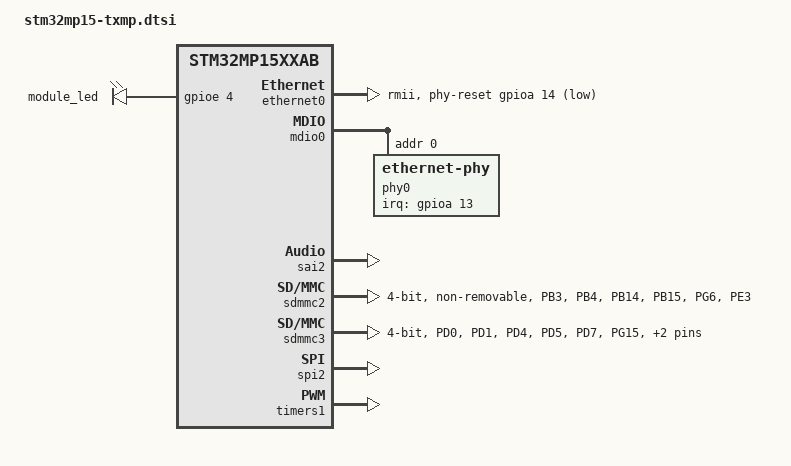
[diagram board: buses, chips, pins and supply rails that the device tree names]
// SPDX-License-Identifier: (GPL-2.0+ OR BSD-3-Clause)
/*
 * Copyright (C) Lothar Waßmann <LW@KARO-electronics.de>
 */

#include "stm32mp15xxab-pinctrl.dtsi"

&ethernet0 {
	pinctrl-0 = <&ethernet0_rmii_pins>;
	pinctrl-1 = <&ethernet0_rmii_pins_sleep>;
	phy-mode = "rmii";
	max-speed = <100>;
	phy-reset-gpios = <&gpioa 14 GPIO_ACTIVE_LOW>;
	st,eth-ref-clk-sel;
};

&lcd_backlight {
	gpios = <&gpioa 10 GPIO_ACTIVE_LOW>;
};

&lcd_panel {
	pinctrl-0 = <&txmp_ltdc_pins>;
	pinctrl-1 = <&txmp_ltdc_pins_sleep>;
	enable-gpios = <&gpiod 15 GPIO_ACTIVE_HIGH>;
	reset-gpios = <&gpioe 1 GPIO_ACTIVE_HIGH>;
};

&mdio0 {
	phy0: ethernet-phy@0 {
		reg = <0>;
		interrupt-parent = <&gpioa>;
		interrupts = <13 IRQ_TYPE_EDGE_FALLING>;
		smsc,disable-energy-detect;
	};
};

&module_led {
	pinctrl-0 = <&txmp_led_pins>;
	pinctrl-1 = <&txmp_led_sleep_pins>;
	gpios = <&gpioe 4 GPIO_ACTIVE_HIGH>;
};

&sai2 {
	status = "okay";

	sai2a: audio-controller@4400b004 {
		pinctrl-names = "default", "sleep";
		pinctrl-0 = <&txmp_sai2a_pins>;
		pinctrl-1 = <&txmp_sai2a_sleep_pins>;
		status = "okay";
	};
};

&sdmmc2 {
	/* eMMC */
	pinctrl-names = "default", "opendrain", "sleep";
	pinctrl-0 = <&txmp_sdmmc2_pins>;
	pinctrl-1 = <&txmp_sdmmc2_opendrain_pins>;
	pinctrl-2 = <&txmp_sdmmc2_sleep_pins>;
	bus-width = <4>;
	no-sd;
	no-sdio;
	st,neg-edge;
	non-removable;
	status = "okay";
};

&sdmmc3 {
	/* SD card slot */
	pinctrl-names = "default", "opendrain", "sleep";
	pinctrl-0 = <&sdmmc3_pins &sdmmc3_cd_pins>;
	pinctrl-1 = <&sdmmc3_opendrain_pins &sdmmc3_cd_pins>;
	pinctrl-2 = <&sdmmc3_sleep_pins &sdmmc3_cd_pins>;
	cd-gpios = <&gpioc 11 GPIO_ACTIVE_LOW>;
	bus-width = <4>;
	no-1-8-v;
	st,neg-edge;
	status = "okay";
};

&spi2 {
	pinctrl-names = "default", "sleep";
	pinctrl-0 = <&spi2_pins>;
	pinctrl-1 = <&spi2_sleep_pins>;
	status = "okay";
};

&timers1 {
	status = "okay";

	pwm {
		pinctrl-names = "default", "sleep";
		pinctrl-0 = <&tim1_pwm_pins>;
		pinctrl-1 = <&tim1_pwm_sleep_pins>;
		status = "okay";
	};
};

&pinctrl {
	sdmmc3_pins: sdmmc3-pins {
		pins1 {
			pinmux = <
				  STM32_PINMUX('D', 0, AF10)	/* SDMMC3_CMD */
				  STM32_PINMUX('D', 1, AF10)	/* SDMMC3_D0 */
				  STM32_PINMUX('D', 4, AF10)	/* SDMMC3_D1 */
				  STM32_PINMUX('D', 5, AF10)	/* SDMMC3_D2 */
				  STM32_PINMUX('D', 7, AF10)	/* SDMMC3_D3 */
			>;
			bias-disable;
			drive-push-pull;
			slew-rate = <0>;
		};

		pins2 {
			pinmux = <STM32_PINMUX('G', 15, AF10)>; /* SDMMC3_CK */
			bias-disable;
			drive-push-pull;
			slew-rate = <0>;
		};
	};

	sdmmc3_cd_pins: sdmmc3-cd-pins {
		pins {
			pinmux = <STM32_PINMUX('C', 11, GPIO)>; /* CD */
			bias-pull-up;
		};
	};

	sdmmc3_opendrain_pins: sdmmc3_opendrain-mx {
		pins1 {
			pinmux = <
				  STM32_PINMUX('D', 1, AF10) /* SDMMC3_D0 */
				  STM32_PINMUX('D', 4, AF10) /* SDMMC3_D1 */
				  STM32_PINMUX('D', 5, AF10) /* SDMMC3_D2 */
				  STM32_PINMUX('D', 7, AF10) /* SDMMC3_D3 */
			>;
			bias-disable;
			drive-push-pull;
			slew-rate = <0>;
		};

		pins2 {
			pinmux = <STM32_PINMUX('G', 15, AF10)>; /* SDMMC3_CK */
			bias-disable;
			drive-push-pull;
			slew-rate = <0>;
		};

		pins3 {
			pinmux = <STM32_PINMUX('D', 0, AF10)>; /* SDMMC3_CMD */
			bias-pull-up;
			drive-open-drain;
			slew-rate = <0>;
		};
	};

	sdmmc3_sleep_pins: sdmmc3-sleep-mx {
		pins {
			pinmux = <
				  STM32_PINMUX('D', 0, ANALOG) /* SDMMC3_CMD */
				  STM32_PINMUX('D', 1, ANALOG) /* SDMMC3_D0 */
				  STM32_PINMUX('D', 4, ANALOG) /* SDMMC3_D1 */
				  STM32_PINMUX('D', 5, ANALOG) /* SDMMC3_D2 */
				  STM32_PINMUX('D', 7, ANALOG) /* SDMMC3_D3 */
				  STM32_PINMUX('G', 15, ANALOG) /* SDMMC3_CK */
			>;
		};
	};

	tim1_pwm_pins: tim1-pwm-pins {
		pins {
			pinmux = <STM32_PINMUX('A', 10, AF1)>; /* TIM1_CH3 */
			bias-disable;
			drive-push-pull;
			slew-rate = <0>;
		};
	};

	tim1_pwm_sleep_pins: tim1-pwm-sleep-pins {
		pins {
			pinmux = <STM32_PINMUX('A', 10, ANALOG)>; /* TIM1_CH3 */
		};
	};

	txmp_ltdc_pins: txmp-lcd-pins {
		pins {
			pinmux = <
				  STM32_PINMUX('G',  7, AF14) /* LCD_CLK */
				  STM32_PINMUX('C',  6, AF14) /* LCD_HSYNC */
				  STM32_PINMUX('A',  4, AF14) /* LCD_VSYNC */
				  STM32_PINMUX('E', 13, AF14) /* LCD_DE */
				  /* LCD_R0 missing! */
				  //STM32_PINMUX('G',  9, AF14) /* LCD_R1 */
				  STM32_PINMUX('C', 10, AF14) /* LCD_R2 */
				  STM32_PINMUX('B',  0,  AF9) /* LCD_R3 */
				  STM32_PINMUX('A',  5, AF14) /* LCD_R4 */
				  STM32_PINMUX('C',  0, AF14) /* LCD_R5 */
				  STM32_PINMUX('B',  1,  AF9) /* LCD_R6 */
				  STM32_PINMUX('E', 15, AF14) /* LCD_R7 */
				  //STM32_PINMUX('E', 14, AF13) /* LCD_G0 */
				  //STM32_PINMUX('E',  6, AF14) /* LCD_G1 */
				  STM32_PINMUX('A',  6, AF14) /* LCD_G2 */
				  STM32_PINMUX('E', 11, AF14) /* LCD_G3 */
				  STM32_PINMUX('B', 10, AF14) /* LCD_G4 */
				  STM32_PINMUX('F', 11, AF14) /* LCD_G5 */
				  STM32_PINMUX('C',  7, AF14) /* LCD_G6 */
				  STM32_PINMUX('D',  3, AF14) /* LCD_G7 */
				  //STM32_PINMUX('D',  9, AF14) /* LCD_B0 */
				  //STM32_PINMUX('G', 12, AF14) /* LCD_B1 */
				  STM32_PINMUX('G', 10, AF14) /* LCD_B2 */
				  STM32_PINMUX('D', 10, AF14) /* LCD_B3 */
				  STM32_PINMUX('E', 12, AF14) /* LCD_B4 */
				  STM32_PINMUX('A',  3, AF14) /* LCD_B5 */
				  STM32_PINMUX('B',  8, AF14) /* LCD_B6 */
				  STM32_PINMUX('D',  8, AF14) /* LCD_B7 */
			>;
			bias-disable;
			drive-push-pull;
			slew-rate = <3>;
		};
	};

	txmp_ltdc_pins_sleep: txmp-lcd-pins-sleep {
		pins {
			pinmux = <
				  STM32_PINMUX('G',  7, ANALOG) /* LCD_CLK */
				  STM32_PINMUX('C',  6, ANALOG) /* LCD_HSYNC */
				  STM32_PINMUX('A',  4, ANALOG) /* LCD_VSYNC */
				  STM32_PINMUX('E', 13, ANALOG) /* LCD_DE */
				  /* LCD_R0 missing! */
				  //STM32_PINMUX('G',  9, ANALOG) /* LCD_R1 */
				  STM32_PINMUX('C', 10, ANALOG) /* LCD_R2 */
				  STM32_PINMUX('B',  0, ANALOG) /* LCD_R3 */
				  STM32_PINMUX('A',  5, ANALOG) /* LCD_R4 */
				  STM32_PINMUX('C',  0, ANALOG) /* LCD_R5 */
				  STM32_PINMUX('B',  1, ANALOG) /* LCD_R6 */
				  STM32_PINMUX('E', 15, ANALOG) /* LCD_R7 */
				  //STM32_PINMUX('E', 14, ANALOG) /* LCD_G0 */
				  //STM32_PINMUX('E',  6, ANALOG) /* LCD_G1 */
				  STM32_PINMUX('A',  6, ANALOG) /* LCD_G2 */
				  STM32_PINMUX('E', 11, ANALOG) /* LCD_G3 */
				  STM32_PINMUX('B', 10, ANALOG) /* LCD_G4 */
				  STM32_PINMUX('F', 11, ANALOG) /* LCD_G5 */
				  STM32_PINMUX('C',  7, ANALOG) /* LCD_G6 */
				  STM32_PINMUX('D',  3, ANALOG) /* LCD_G7 */
				  //STM32_PINMUX('D',  9, ANALOG) /* LCD_B0 */
				  //STM32_PINMUX('G', 12, ANALOG) /* LCD_B1 */
				  STM32_PINMUX('G', 10, ANALOG) /* LCD_B2 */
				  STM32_PINMUX('D', 10, ANALOG) /* LCD_B3 */
				  STM32_PINMUX('E', 12, ANALOG) /* LCD_B4 */
				  STM32_PINMUX('A',  3, ANALOG) /* LCD_B5 */
				  STM32_PINMUX('B',  8, ANALOG) /* LCD_B6 */
				  STM32_PINMUX('D',  8, ANALOG) /* LCD_B7 */
			>;
		};
	};

	txmp_led_pins: txmp-led-pins {
		pins {
			pinmux = <
				  STM32_PINMUX('E', 4, GPIO)	/* module LED */
			>;
			bias-pull-up;
			drive-push-pull;
			output-low;
			slew-rate = <0>;
		};
	};

	txmp_led_sleep_pins: txmp-led-sleep-pins {
		pins {
			pinmux = <
				  STM32_PINMUX('E', 4, ANALOG)	/* module LED */
			>;
		};
	};

	txmp_sai2a_pins: txmp-sai2a-pins {
		pins {
			pinmux = <
				  STM32_PINMUX('D', 11, AF10) /* SAI2_SD_A */
				  STM32_PINMUX('D', 12, AF10) /* SAI2_FS_A */
				  STM32_PINMUX('D', 13, AF10) /* SAI2_SCK_A */
				  STM32_PINMUX('E', 0, AF10) /* SAI2_MCLK_A */
			>;
			bias-disable;
			drive-push-pull;
			slew-rate = <0>;
		};
	};

	txmp_sai2a_sleep_pins: txmp-sai2a-sleep-pins {
		pins {
			pinmux = <
				  STM32_PINMUX('D', 11, ANALOG) /* SAI2_SD_A */
				  STM32_PINMUX('D', 12, ANALOG) /* SAI2_FS_A */
				  STM32_PINMUX('D', 13, ANALOG) /* SAI2_SCK_A */
				  STM32_PINMUX('E', 0, ANALOG) /* SAI2_MCLK_A */
			>;
		};
	};

	txmp_sdmmc2_pins: txmp-sdmmc2-pins {
		pins1 {
			pinmux = <
				  STM32_PINMUX('B', 3, AF9)	/* SDMMC2_D2 */
				  STM32_PINMUX('B', 4, AF9)	/* SDMMC2_D3 */
				  STM32_PINMUX('B', 14, AF9)	/* SDMMC2_D0 */
				  STM32_PINMUX('B', 15, AF9)	/* SDMMC2_D1 */
				  STM32_PINMUX('G', 6, AF10)	/* SDMMC2_CMD */
			>;
			bias-disable;
			drive-push-pull;
			slew-rate = <1>;
		};

		pins2 {
			pinmux = <STM32_PINMUX('E', 3, AF9)>; /* SDMMC2_CK */
			bias-disable;
			drive-push-pull;
			slew-rate = <3>;
		};
	};

	txmp_sdmmc2_opendrain_pins: txmp-sdmmc2-opendrain-pins {
		pins1 {
			pinmux = <
				  STM32_PINMUX('G', 6, AF10)	/* SDMMC2_CMD */
			>;
			bias-pull-up;
			drive-open-drain;
			slew-rate = <1>;
		};

		pins2 {
			pinmux = <
				  STM32_PINMUX('B', 3, AF9)	/* SDMMC2_D2 */
				  STM32_PINMUX('B', 4, AF9)	/* SDMMC2_D3 */
				  STM32_PINMUX('B', 14, AF9)	/* SDMMC2_D0 */
				  STM32_PINMUX('B', 15, AF9)	/* SDMMC2_D1 */
			>;
			bias-disable;
			drive-push-pull;
			slew-rate = <1>;
		};

		pins3 {
			pinmux = <STM32_PINMUX('E', 3, AF9)>; /* SDMMC2_CK */
			bias-disable;
			drive-push-pull;
			slew-rate = <3>;
		};
	};

	txmp_sdmmc2_sleep_pins: txmp-sdmmc2-sleep-pins {
		pins {
			pinmux = <
				  STM32_PINMUX('B', 3, ANALOG)	/* SDMMC2_D2 */
				  STM32_PINMUX('B', 4, ANALOG)	/* SDMMC2_D3 */
				  STM32_PINMUX('B', 14, ANALOG)	/* SDMMC2_D0 */
				  STM32_PINMUX('B', 15, ANALOG)	/* SDMMC2_D1 */
				  STM32_PINMUX('G', 6, ANALOG)	/* SDMMC2_CMD */
				  STM32_PINMUX('E', 3, ANALOG)	/* SDMMC2_CK */
			>;
		};
	};
};
